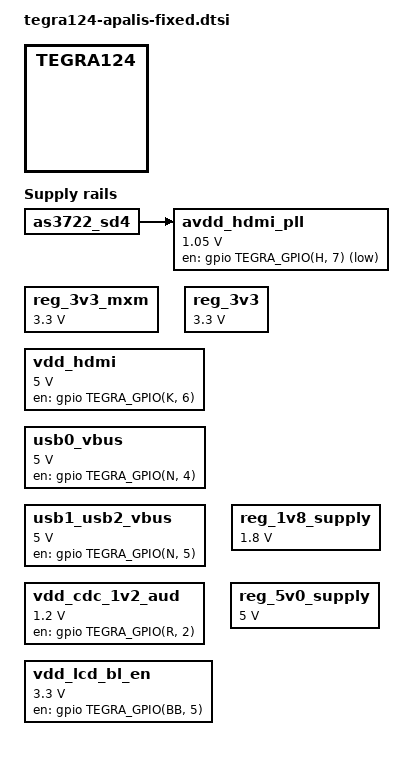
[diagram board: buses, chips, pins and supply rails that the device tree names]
#include <dt-bindings/gpio/tegra-gpio.h>

/ {
	regulators {
		compatible = "simple-bus";
		#address-cells = <1>;
		#size-cells = <0>;

		avdd_hdmi_pll: regulator@0 {
			compatible = "regulator-fixed-sync";
			reg = <0>;
			regulator-name = "+V1.05_AVDD_HDMI_PLL";
			regulator-min-microvolt = <1050000>;
			regulator-max-microvolt = <1050000>;
			gpio = <&gpio TEGRA_GPIO(H, 7) 0>;
			vin-supply = <&as3722_sd4>;
			consumers {
				c1 {
					regulator-consumer-supply = "avdd_hdmi_pll";
					regulator-consumer-device = "tegradc.1";
				};
				c2 {
					regulator-consumer-supply = "avdd_hdmi_pll";
					regulator-consumer-device = "tegradc.0";
				};
			};
		};

		reg_3v3_mxm: regulator@1 {
			compatible = "regulator-fixed";
			reg = <1>;
			regulator-name = "+V3.3_MXM";
			regulator-min-microvolt = <3300000>;
			regulator-max-microvolt = <3300000>;

			consumers {
				c1 {
					regulator-consumer-supply = "vdd_3v3_emmc";
				};
				c2 {
					regulator-consumer-supply = "vdd_com_3v3";
				};
			};
		};

		reg_3v3: regulator@2 {
			compatible = "regulator-fixed";
			reg = <2>;
			regulator-name = "reg-3v3";
			regulator-min-microvolt = <3300000>;
			regulator-max-microvolt = <3300000>;

			consumers {
				c1 {
					regulator-consumer-supply = "avdd_usb";
					regulator-consumer-device = "tegra-udc.0";
				};
				c2 {
					regulator-consumer-supply = "avdd_usb";
					regulator-consumer-device = "tegra-ehci.0";
				};
				c3 {
					regulator-consumer-supply = "avdd_usb";
					regulator-consumer-device = "tegra-ehci.1";
				};
				c4 {
					regulator-consumer-supply = "avdd_usb";
					regulator-consumer-device = "tegra-ehci.2";
				};
				c5 {
					regulator-consumer-supply = "hvdd_usb";
					regulator-consumer-device = "tegra-xhci";
				};
				c6 {
					regulator-consumer-supply = "vddio_hv";
					regulator-consumer-device = "tegradc.1";
				};
				c7 {
					regulator-consumer-supply = "pwrdet_hv";
				};
				c8 {
					regulator-consumer-supply = "hvdd_sata";
				};
				c9 {
					regulator-consumer-supply = "hvdd_pex";
					regulator-consumer-device = "tegra-pcie";
				};
				c10 {
					regulator-consumer-supply = "hvdd_pex_pll";
					regulator-consumer-device = "tegra-pcie";
				};
				c11 {
					regulator-consumer-supply = "vdd_sys_cam_3v3";
				};
				c12 {
					regulator-consumer-supply = "VDDA";
					regulator-consumer-device = "4-000a";
				};
				c13 {
					regulator-consumer-supply = "vddio_sd_slot";
					regulator-consumer-device = "sdhci-tegra.0";
				};
				c14 {
					regulator-consumer-supply = "vddio_sd_slot";
					regulator-consumer-device = "sdhci-tegra.2";
				};
				c15 {
					regulator-consumer-supply = "vdd_3v3_sensor";
				};
				c16 {
					regulator-consumer-supply = "vdd_kp_3v3";
				};
				c17 {
					regulator-consumer-supply = "vdd_tp_3v3";
				};
				c18 {
					regulator-consumer-supply = "vdd_dtv_3v3";
				};
				c19 {
					regulator-consumer-supply = "vdd";
					regulator-consumer-device = "4-004c";
				};
			};
		};

		vdd_hdmi: regulator@3 {
		  compatible = "regulator-fixed-sync";
		  reg = <3>;
		  regulator-name = "vdd-hdmi";
		  regulator-min-microvolt = <5000000>;
		  regulator-max-microvolt = <5000000>;
		  gpio = <&gpio TEGRA_GPIO(K, 6) 0>;
		  enable-active-high;
		  startup-delay-us = <5000>;

		  consumers {
			  c1 {
				  regulator-consumer-supply = "vdd_hdmi_5v0";
				  regulator-consumer-device = "tegradc.1";
			  };
			  c2 {
				  regulator-consumer-supply = "vdd_hdmi_5v0";
				  regulator-consumer-device = "tegradc.0";
			  };
		  };
	  };
		/* USBO1_EN */
		usb0_vbus: regulator@4 {
			compatible = "regulator-fixed-sync";
			reg = <4>;
			regulator-name = "usb0-vbus";
			regulator-min-microvolt = <5000000>;
			regulator-max-microvolt = <5000000>;
			gpio = <&gpio TEGRA_GPIO(N, 4) 0>;
			enable-active-high;

			consumers {
				c1 {
					regulator-consumer-supply = "usb_vbus";
					regulator-consumer-device = "tegra-ehci.0";
				};
				c2 {
					regulator-consumer-supply = "usb_vbus";
					regulator-consumer-device = "tegra-otg";
				};
				c3 {
					regulator-consumer-supply = "usb_vbus0";
					regulator-consumer-device = "tegra-xhci";
				};
			};
		};

		/* USBH_EN */
		usb1_usb2_vbus: regulator@5 {
			compatible = "regulator-fixed-sync";
			reg = <5>;
			regulator-name = "usb1-usb2-vbus";
			regulator-min-microvolt = <5000000>;
			regulator-max-microvolt = <5000000>;
			gpio = <&gpio TEGRA_GPIO(N, 5) 0>;
			enable-active-high;

			consumers {
				c1 {
					regulator-consumer-supply = "usb_vbus";
					regulator-consumer-device = "tegra-ehci.2";
				};
				c2 {
					regulator-consumer-supply = "usb_vbus2";
					regulator-consumer-device = "tegra-xhci";
				};
				c3 {
					regulator-consumer-supply = "usb_vbus";
					regulator-consumer-device = "tegra-ehci.1";
				};
				c4 {
					regulator-consumer-supply = "usb_vbus1";
					regulator-consumer-device = "tegra-xhci";
				};
			};
		};

		reg_1v8_supply: regulator@6 {
			compatible = "regulator-fixed-sync";
			reg = <6>;
			regulator-name = "reg-1v8-supply";
			regulator-min-microvolt = <1800000>;
			regulator-max-microvolt = <1800000>;

			consumers {
				c1 {
					regulator-consumer-supply = "avdd_lvds0_pll";
				};
				c2 {
					regulator-consumer-supply = "dvdd_lcd";
				};
				c3 {
					regulator-consumer-supply = "vdd_ds_1v8";
				};
				c4 {
					regulator-consumer-supply = "avdd";
					regulator-consumer-device = "tegra-snd-apalis-tk1-sgtl5000.0";
				};
				c5 {
					regulator-consumer-supply = "dbvdd";
					regulator-consumer-device = "tegra-snd-apalis-tk1-sgtl5000.0";
				};
				c6 {
					regulator-consumer-supply = "avdd";
					regulator-consumer-device = "tegra-snd-apalis-tk1-sgtl5000.0";
				};
				c7 {
					regulator-consumer-supply = "dbvdd";
					regulator-consumer-device = "tegra-snd-apalis-tk1-sgtl5000.0";
				};
				c8 {
					regulator-consumer-supply = "dmicvdd";
					regulator-consumer-device = "tegra-snd-apalis-tk1-sgtl5000.0";
				};
				c9 {
					regulator-consumer-supply = "dmicvdd";
					regulator-consumer-device = "tegra-snd-apalis-tk1-sgtl5000.0";
				};
				c10 {
					regulator-consumer-supply = "vdd_1v8b_nfc";
				};
				c11 {
					regulator-consumer-supply = "vdd_1v8_sensor";
				};
				c12 {
					regulator-consumer-supply = "vdd_1v8_sdmmc";
				};
				c13 {
					regulator-consumer-supply = "vdd_kp_1v8";
				};
				c14 {
					regulator-consumer-supply = "vdd_tp_1v8";
				};
				c15 {
					regulator-consumer-supply = "vdd_modem_1v8";
				};
				c16 {
					regulator-consumer-supply = "vdd_1v8b";
					regulator-consumer-device = "0-0048";
				};
				c17 {
					regulator-consumer-supply = "dvdd";
					regulator-consumer-device = "spi0.0";
				};
				c18 {
					regulator-consumer-supply = "vlogic";
					regulator-consumer-device = "0-0069";
				};
				c19 {
					regulator-consumer-supply = "vid";
					regulator-consumer-device = "0-000c";
				};
				c20 {
					regulator-consumer-supply = "vddio";
					regulator-consumer-device = "0-0077";
				};
				c21 {
					regulator-consumer-supply = "avdd_pll_utmip";
					regulator-consumer-device = "tegra-udc.0";
				};
				c22 {
					regulator-consumer-supply = "avdd_pll_utmip";
					regulator-consumer-device = "tegra-ehci.0";
				};
				c23 {
					regulator-consumer-supply = "avdd_pll_utmip";
					regulator-consumer-device = "tegra-ehci.1";
				};
				c24 {
					regulator-consumer-supply = "avdd_pll_utmip";
					regulator-consumer-device = "tegra-ehci.2";
				};
				c25 {
					regulator-consumer-supply = "avdd_pll_utmip";
					regulator-consumer-device = "tegra-xhci";
				};
			};
		};

		vdd_cdc_1v2_aud: regulator@7 {
			 compatible = "regulator-fixed-sync";
			 reg = <7>;
			 regulator-name = "vdd-cdc-1v2-aud";
			 regulator-min-microvolt = <1200000>;
			 regulator-max-microvolt = <1200000>;
			 enable-active-high;
			 gpio = <&gpio TEGRA_GPIO(R, 2) 0>;
			 startup-delay-us = <250000>;
			 consumers {
				 c1 {
					 regulator-consumer-supply = "ldoen";
					 regulator-consumer-device = "tegra-snd-apalis-tk1-sgtl5000.0";
				 };
			 };
		 };

		reg_5v0_supply: regulator@8 {
			compatible = "regulator-fixed-sync";
			reg = <8>;
			regulator-name = "reg-5v0-supply";
			regulator-min-microvolt = <5000000>;
			regulator-max-microvolt = <5000000>;

			consumers {
				c1 {
					regulator-consumer-supply = "spkvdd";
					regulator-consumer-device = "tegra-snd-apalis-tk1-sgtl5000.0";
				};
				c2 {
					regulator-consumer-supply = "spkvdd";
					regulator-consumer-device = "tegra-snd-apalis-tk1-sgtl5000.0";
				};
				c3 {
					regulator-consumer-supply = "vdd_5v0_sensor";
				};
			};
		};

		vdd_lcd_bl_en: regulator@9 {
			compatible = "regulator-fixed-sync";
			reg = <9>;
			regulator-name = "BKL1_ON";
			regulator-min-microvolt = <3300000>;
			regulator-max-microvolt = <3300000>;
			/* Apalis BKL1_ON */
			gpio = <&gpio TEGRA_GPIO(BB, 5) 0>;
			enable-active-high;

			consumers {
				c1 {
					regulator-consumer-supply = "vdd_lcd_bl";
				};
				c2 {
					regulator-consumer-supply = "vdd_lcd_bl_en";
				};
			};
		};
	};
};
